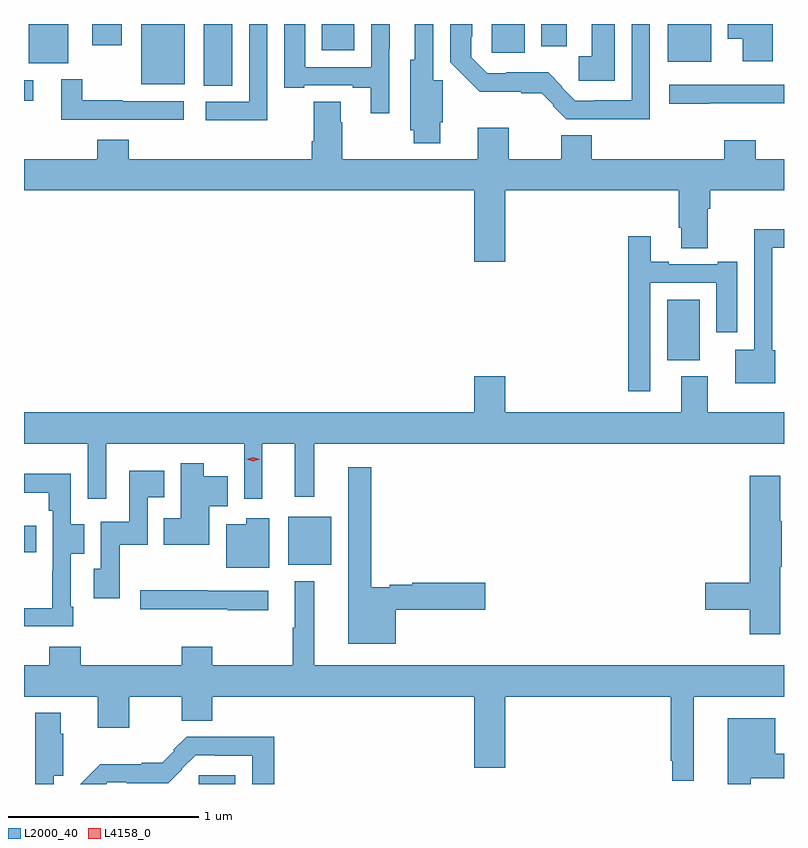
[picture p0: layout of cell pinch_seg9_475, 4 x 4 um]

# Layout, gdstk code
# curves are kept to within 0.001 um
import gdstk
lib = gdstk.Library(unit=1e-6, precision=1e-09)
def R(c, l, rs):  # rectangles x0, y0, x1, y1
    for r in rs: c.add(gdstk.rectangle(r[:2], r[2:], *l))
def P(c, l, *ps):  # polygons
    for p in ps: c.add(gdstk.Polygon(p, *l))
L2000_40 = (2000, 40)
L4158_0 = (4158, 0)

pinch_seg9_475 = lib.new_cell('pinch_seg9_475')
R(pinch_seg9_475, L2000_40, [(391.332,1198.624,391.522,1198.67), (391.802,1199.777,392.029,1200.031), (390.411,1199.843,390.476,1199.983), (393.797,1200.854,393.967,1201.174), (390.411,1202.22,390.46,1202.328), (391.358,1202.299,391.507,1202.624), (391.028,1202.306,391.258,1202.624), (390.437,1202.417,390.643,1202.624), (393.8,1202.426,394.027,1202.624), (392.873,1202.472,393.046,1202.624), (391.979,1202.486,392.149,1202.624), (393.134,1202.508,393.268,1202.624), (390.771,1202.511,390.925,1202.624)])
P(pinch_seg9_475, L2000_40, [(391.692,1202.624),(391.596,1202.624),(391.596,1202.214),(391.368,1202.214),(391.368,1202.117),(391.692,1202.117)],
  [(393.705,1202.624),(393.609,1202.624),(393.609,1202.224),(393.412,1202.224),(393.412,1202.22),(393.312,1202.22),(393.24,1202.292),(393.243,1202.295),(393.169,1202.369),(392.95,1202.369),(392.95,1202.364),(392.85,1202.364),(392.766,1202.448),(392.766,1202.556),(392.77,1202.556),(392.77,1202.624),(392.654,1202.624),(392.654,1202.424),(392.809,1202.267),(393.029,1202.267),(393.029,1202.259),(393.137,1202.259),(393.199,1202.197),(393.195,1202.193),(393.265,1202.123),(393.705,1202.123)],
  [(392.602,1202.107),(392.615,1202.107),(392.615,1202.328),(392.565,1202.328),(392.565,1202.624),(392.468,1202.624),(392.468,1202.436),(392.444,1202.436),(392.444,1202.064),(392.461,1202.064),(392.461,1201.997),(392.602,1201.997)],
  [(394.351,1202.624),(394.116,1202.624),(394.116,1202.546),(394.193,1202.546),(394.193,1202.427),(394.351,1202.427)],
  [(393.52,1202.624),(393.398,1202.624),(393.398,1202.455),(393.33,1202.455),(393.33,1202.326),(393.52,1202.326)],
  [(392.334,1202.494),(392.335,1202.494),(392.335,1202.624),(392.238,1202.624),(392.238,1202.397),(391.891,1202.397),(391.891,1202.624),(391.781,1202.624),(391.781,1202.289),(391.885,1202.289),(391.885,1202.301),(392.141,1202.301),(392.141,1202.289),(392.237,1202.289),(392.237,1202.154),(392.334,1202.154)],
  [(391.252,1202.217),(390.932,1202.217),(390.932,1202.222),(390.718,1202.222),(390.718,1202.332),(390.608,1202.332),(390.608,1202.121),(391.252,1202.121)],
  [(394.019,1202.207),(394.411,1202.207),(394.411,1202.304),(393.807,1202.304),(393.807,1202.203),(394.019,1202.203)],
  [(392.944,1201.748),(393.857,1201.748),(393.857,1201.552),(393.869,1201.552),(393.869,1201.444),(394.009,1201.444),(394.009,1201.652),(394.022,1201.652),(394.022,1201.748),(394.411,1201.748),(394.411,1201.912),(394.262,1201.912),(394.262,1202.011),(394.097,1202.011),(394.097,1201.912),(393.4,1201.912),(393.4,1202.038),(393.239,1202.038),(393.239,1201.912),(392.962,1201.912),(392.962,1202.077),(392.798,1202.077),(392.798,1201.912),(392.085,1201.912),(392.085,1202.108),(392.077,1202.108),(392.077,1202.216),(391.937,1202.216),(391.937,1202.008),(391.925,1202.008),(391.925,1201.912),(390.962,1201.912),(390.962,1202.014),(390.797,1202.014),(390.797,1201.912),(390.411,1201.912),(390.411,1201.748),(392.78,1201.748),(392.78,1201.374),(392.944,1201.374)],
  [(394.366,1200.906),(394.35,1200.906),(394.35,1201.446),(394.411,1201.446),(394.411,1201.544),(394.254,1201.544),(394.254,1200.91),(394.154,1200.91),(394.154,1200.734),(394.366,1200.734)],
  [(393.708,1201.263),(394.055,1201.263),(394.055,1201.002),(394.165,1201.002),(394.165,1201.372),(394.061,1201.372),(394.061,1201.359),(393.805,1201.359),(393.805,1201.372),(393.709,1201.372),(393.709,1201.507),(393.592,1201.507),(393.592,1200.69),(393.708,1200.69)],
  [(390.843,1200.416),(391.569,1200.416),(391.569,1200.126),(391.666,1200.126),(391.666,1200.416),(391.835,1200.416),(391.835,1200.135),(391.939,1200.135),(391.939,1200.416),(394.411,1200.416),(394.411,1200.58),(394.009,1200.58),(394.009,1200.769),(393.869,1200.769),(393.869,1200.58),(392.944,1200.58),(392.944,1200.769),(392.78,1200.769),(392.78,1200.58),(390.411,1200.58),(390.411,1200.416),(390.747,1200.416),(390.747,1200.126),(390.843,1200.126)],
  [(391.387,1200.086),(391.484,1200.086),(391.484,1200.244),(391.357,1200.244),(391.357,1200.313),(391.235,1200.313),(391.235,1200.022),(391.147,1200.022),(391.147,1199.882),(391.387,1199.882)],
  [(392.368,1199.542),(392.839,1199.542),(392.839,1199.684),(392.454,1199.684),(392.454,1199.672),(392.336,1199.672),(392.336,1199.659),(392.239,1199.659),(392.239,1200.292),(392.117,1200.292),(392.117,1199.363),(392.368,1199.363)],
  [(390.915,1199.882),(391.062,1199.882),(391.062,1200.134),(391.15,1200.134),(391.15,1200.274),(390.966,1200.274),(390.966,1200.004),(390.816,1200.004),(390.816,1199.757),(390.779,1199.757),(390.779,1199.601),(390.915,1199.601)],
  [(390.67,1199.557),(390.657,1199.557),(390.657,1199.836),(390.727,1199.836),(390.727,1199.991),(390.657,1199.991),(390.657,1200.256),(390.411,1200.256),(390.411,1200.158),(390.541,1200.158),(390.541,1200.062),(390.561,1200.062),(390.561,1199.747),(390.56,1199.747),(390.56,1199.55),(390.411,1199.55),(390.411,1199.454),(390.67,1199.454)],
  [(394.39,1199.767),(394.398,1199.767),(394.398,1200.008),(394.39,1200.008),(394.39,1200.247),(394.232,1200.247),(394.232,1199.684),(393.996,1199.684),(393.996,1199.542),(394.232,1199.542),(394.232,1199.412),(394.39,1199.412)],
  [(391.702,1200.022),(391.58,1200.022),(391.58,1199.992),(391.475,1199.992),(391.475,1199.762),(391.702,1199.762)],
  [(393.937,1199.084),(394.411,1199.084),(394.411,1199.248),(391.939,1199.248),(391.939,1199.692),(391.835,1199.692),(391.835,1199.447),(391.825,1199.447),(391.825,1199.248),(391.401,1199.248),(391.401,1199.347),(391.241,1199.347),(391.241,1199.248),(390.71,1199.248),(390.71,1199.347),(390.545,1199.347),(390.545,1199.248),(390.411,1199.248),(390.411,1199.084),(390.8,1199.084),(390.8,1198.92),(390.964,1198.92),(390.964,1199.084),(391.241,1199.084),(391.241,1198.958),(391.402,1198.958),(391.402,1199.084),(392.78,1199.084),(392.78,1198.71),(392.944,1198.71),(392.944,1199.084),(393.816,1199.084),(393.816,1198.747),(393.823,1198.747),(393.823,1198.64),(393.937,1198.64)],
  [(391.696,1199.64),(391.379,1199.64),(391.379,1199.643),(391.023,1199.643),(391.023,1199.543),(391.483,1199.543),(391.483,1199.539),(391.696,1199.539)],
  [(390.567,1198.668),(390.617,1198.668),(390.617,1198.889),(390.604,1198.889),(390.604,1198.999),(390.47,1198.999),(390.47,1198.782),(390.471,1198.782),(390.471,1198.624),(390.567,1198.624)],
  [(394.237,1198.654),(394.411,1198.654),(394.411,1198.783),(394.366,1198.783),(394.366,1198.969),(394.115,1198.969),(394.115,1198.624),(394.237,1198.624)],
  [(390.852,1198.632),(390.952,1198.632),(390.952,1198.628),(391.171,1198.628),(391.245,1198.701),(391.242,1198.704),(391.314,1198.776),(391.414,1198.776),(391.414,1198.772),(391.611,1198.772),(391.611,1198.624),(391.727,1198.624),(391.727,1198.873),(391.267,1198.873),(391.197,1198.803),(391.201,1198.799),(391.139,1198.737),(391.031,1198.737),(391.031,1198.729),(390.811,1198.729),(390.708,1198.624),(390.844,1198.624)])
P(pinch_seg9_475, L4158_0, [(391.617,1200.324),(391.581,1200.334),(391.581,1200.334),(391.581,1200.334),(391.617,1200.344),(391.653,1200.334),(391.653,1200.334),(391.653,1200.334)])

lib.write_gds('pinch_seg9_475.gds')
